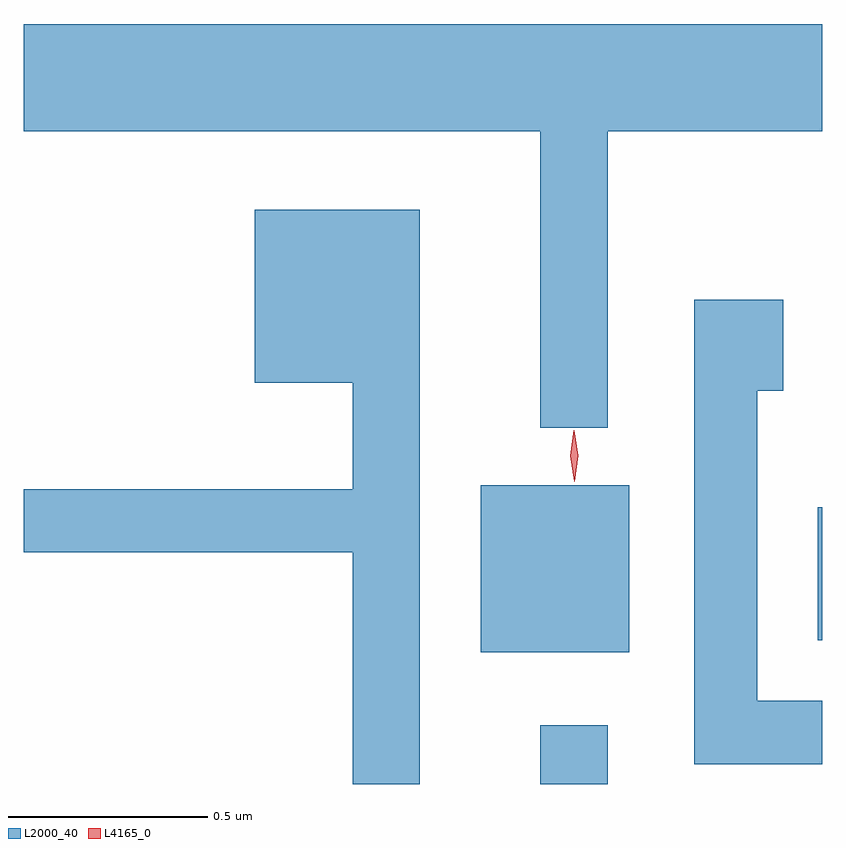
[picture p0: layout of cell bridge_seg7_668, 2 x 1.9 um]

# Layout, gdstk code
import gdstk
lib = gdstk.Library(unit=1e-6, precision=1e-09)
def R(c, l, rs):  # rectangles x0, y0, x1, y1
    for r in rs: c.add(gdstk.rectangle(r[:2], r[2:], *l))
def P(c, l, *ps):  # polygons
    for p in ps: c.add(gdstk.Polygon(p, *l))
L2000_40 = (2000, 40)
L4165_0 = (4165, 0)

bridge_seg7_668 = lib.new_cell('bridge_seg7_668')
R(bridge_seg7_668, L2000_40, [(633.001,1672.721,633.169,1672.868), (632.851,1673.051,633.224,1673.469), (633.696,1673.081,633.707,1673.414)])
P(bridge_seg7_668, L2000_40, [(633.169,1674.356),(633.707,1674.356),(633.707,1674.624),(631.707,1674.624),(631.707,1674.356),(633.001,1674.356),(633.001,1673.613),(633.169,1673.613)],
  [(632.699,1674.159),(632.286,1674.159),(632.286,1673.726),(632.531,1673.726),(632.531,1673.459),(631.707,1673.459),(631.707,1673.301),(632.531,1673.301),(632.531,1672.721),(632.699,1672.721)],
  [(633.707,1672.929),(633.544,1672.929),(633.544,1673.706),(633.609,1673.706),(633.609,1673.934),(633.386,1673.934),(633.386,1672.771),(633.707,1672.771)])
P(bridge_seg7_668, L4165_0, [(633.086,1673.478),(633.086,1673.479),(633.076,1673.543),(633.085,1673.607),(633.085,1673.607),(633.086,1673.607),(633.096,1673.543),(633.087,1673.479)])

lib.write_gds('bridge_seg7_668.gds')
